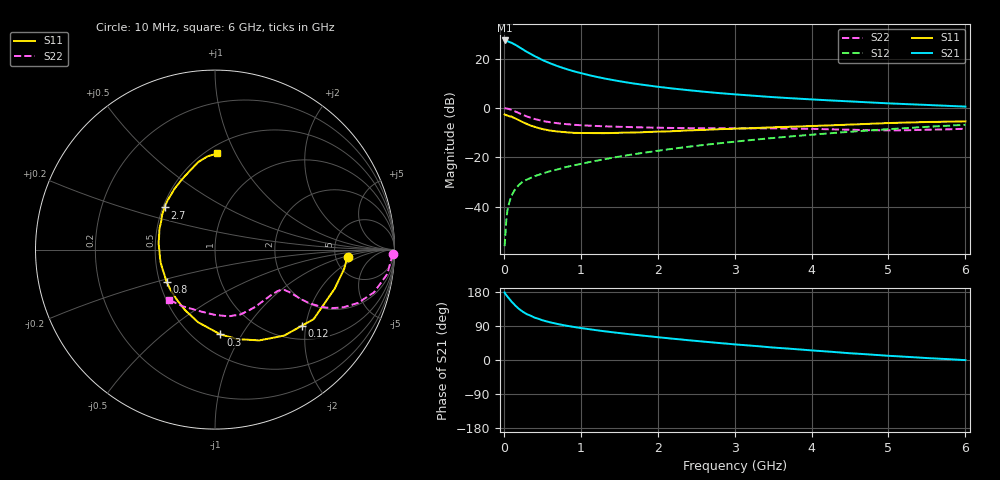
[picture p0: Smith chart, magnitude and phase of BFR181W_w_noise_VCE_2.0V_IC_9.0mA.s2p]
! Infineon Technologies  Discrete & RF Semiconductors
! BFR181W
! VCE =  2.0 V,  IC =  9.0 mA
! Common Emitter S-Parameters:  Jan 2017
# GHz  S  MA  R  50
!  f  S11  S21  S12  S22
! GHz  MAG  ANG  MAG  ANG  MAG  ANG  MAG  ANG
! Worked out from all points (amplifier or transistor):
!   77 points, 10 MHz to 6 GHz, reference 50 ohm
!   highest |S21| = 27.3 dB at 10 MHz (marker M1)
!   |S21| within 3 dB of that: start of sweep to 215.1 MHz
!   unconditionally stable (mu >= 1): 935 MHz to 2.919 GHz
!   at 130 MHz: K = 0.27, MSG = 29.8 dB, |S12| = -33.8 dB
!   at 2.2 GHz: K = 1.07, MAG = 10.6 dB, |S12| = -16.5 dB
!   at 6 GHz: K = 0.84, MSG = 3.7 dB, |S12| = -6.8 dB
!   lowest NFmin = 1.18 dB at 450 MHz
!   S11 on the Smith chart (normalised r, x): 10 MHz: 6.49, -1.11; 120 MHz: 1.31, -1.90; 300 MHz: 0.67, -0.81; 800 MHz: 0.54, -0.22; 2.7 GHz: 0.51, +0.28; 6 GHz: 0.56, +0.85
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0.01  0.7399 -3.0  23.25 178.1  0.0016 88.2  0.9897 -1.5
0.02  0.7271 -8.6  23.09 174.4  0.0027 102.1  0.9836 -3.1
0.05  0.7013 -18.1  22.43 166.6  0.0091 83.0  0.9698 -8.0
0.1  0.6724 -35.2  20.88 154.0  0.0167 75.0  0.917 -15.1
0.12  0.6435 -41.2  20.05 150.0  0.0192 71.8  0.8892 -17.2
0.15  0.6149 -51.2  19.01 143.4  0.0231 68.3  0.8499 -20.5
0.2  0.5628 -64.0  17.01 134.2  0.0282 64.6  0.7822 -24.3
0.25  0.5144 -75.9  15.25 126.9  0.0327 62.1  0.7243 -26.8
0.3  0.4737 -86.3  13.64 120.9  0.0355 60.0  0.6728 -28.3
0.4  0.4158 -103.0  11.2 111.8  0.0417 59.4  0.5987 -29.7
0.5  0.3757 -116.6  9.363 105.0  0.0469 59.5  0.5488 -30.0
0.6  0.3497 -127.9  8.035 99.5  0.0526 59.8  0.515 -29.8
0.7  0.3341 -137.9  7.009 95.0  0.0572 61.2  0.4904 -29.7
0.8  0.324 -146.4  6.226 91.0  0.0634 62.6  0.4729 -29.8
1.1  0.3114 -166.2  4.649 81.6  0.0798 65.0  0.4402 -30.7
1.5  0.3149 174.9  3.488 71.2  0.1039 66.5  0.4157 -34.1
2.1  0.3351 154.9  2.579 58.2  0.1429 66.5  0.3965 -42.8
2.7  0.3659 140.1  2.066 46.7  0.1857 64.8  0.3894 -53.8
3.1  0.3855 131.5  1.84 39.7  0.2157 62.8  0.3874 -61.2
4.1  0.4372 113.7  1.463 23.9  0.2959 56.2  0.3752 -80.6
5.1  0.5006 99.7  1.222 10.0  0.3809 47.4  0.3535 -107.5
6  0.5358 88.7  1.067 -0.3  0.4571 38.5  0.3804 -132.8
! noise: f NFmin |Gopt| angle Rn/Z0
0.45  1.18  0.17  16  0.21
0.9  1.23  0.16  31  0.21
1.9  1.65  0.05  107  0.2
2.4  1.82  0.03  116  0.23
